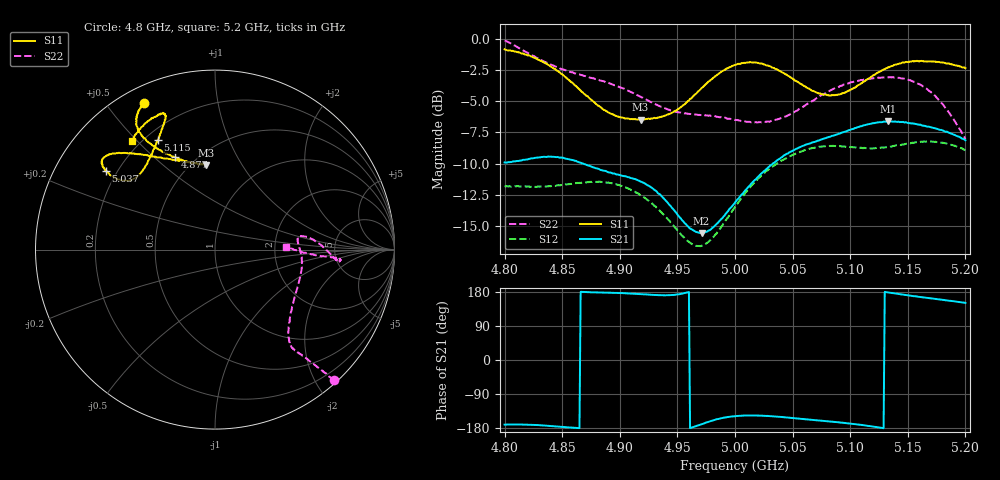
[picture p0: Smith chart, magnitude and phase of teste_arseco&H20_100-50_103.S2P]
! Network Analyzer HP8722D
! Hewlett-Packard
! Data name: Linha & Wilkinson
! Saver's name: Rodrigo Anjos
! Comments: Teste da utilização de aquisição
! continua pelo VNA HP8722D
! Time and date: 6/5/2025 13:25
!  Frequency  S11  S21  S12  S22
# HZ  S  MA R 50
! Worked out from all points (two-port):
!   401 points, 4.8 GHz to 5.2 GHz, reference 50 ohm
!   highest |S21| = -6.61 dB at 5.133 GHz (marker M1); lowest = -15.5 dB at 4.971 GHz (marker M2)
!   |S21| within 3 dB of the highest: 4.822 GHz to 4.854 GHz (32.33 MHz wide, 0.668 % of centre); 5.039 GHz to end of sweep
!   lowest |S11| = -6.5 dB at 4.918 GHz (marker M3), VSWR 2.81, Z = 29.2 + j35.6 ohm
!   |S11| at or under -10 dB: nowhere
!   |S22| runs from -8.0 to -0.1 dB; largest |S21 - S12| = 0.83
!   S11 on the Smith chart (normalised r, x): 4.8 GHz: 0.07, +0.62; 4.877 GHz: 0.39, +0.58; 5.037 GHz: 0.16, +0.32; 5.115 GHz: 0.25, +0.58; 5.2 GHz: 0.17, +0.48
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4.8e9  0.9069 115.9  0.3202 -170.6  0.257 -86.2  0.9845 -47.6
4.834e9  0.8052 122.4  0.3374 -172.7  0.2566 -77.0  0.8117 -49.8
4.849e9  0.7242 122.2  0.335 -176.4  0.2599 -71.8  0.7581 -50.6
4.867e9  0.613 117.9  0.3177 179.7  0.2656 -67.4  0.7155 -51.6
4.877e9  0.5613 113.5  0.3057 178.6  0.268 -66.3  0.6948 -51.9
4.9e9  0.4862 101.4  0.2851 176.8  0.259 -66.5  0.6396 -50.2
4.918e9  0.4749 96.1  0.2682 173.8  0.2366 -68.7  0.5866 -45.3
4.934e9  0.4851 99.2  0.2396 171.1  0.2072 -69.5  0.5392 -37.4
4.959e9  0.5621 116.2  0.178 178.6  0.1552 -59.0  0.5009 -21.0
4.971e9  0.6349 124.6  0.1669 -169.5  0.1486 -45.5  0.4952 -13.9
4.982e9  0.7024 130.4  0.1776 -158.5  0.1625 -33.1  0.4906 -8.2
5e9  0.7856 137.3  0.2209 -148.4  0.2125 -21.4  0.4734 -0.3
5.018e9  0.8029 141.6  0.2739 -146.6  0.2699 -18.4  0.4641 5.7
5.037e9  0.7506 144.1  0.3272 -149.5  0.3184 -18.4  0.4763 8.9
5.067e9  0.6187 141.9  0.385 -158.0  0.3654 -20.6  0.5632 4.6
5.089e9  0.5963 132.5  0.4149 -164.2  0.3717 -23.8  0.6388 -1.9
5.115e9  0.6886 117.6  0.4545 -173.5  0.3642 -26.8  0.6908 -5.3
5.133e9  0.7692 111.4  0.4673 178.2  0.3689 -28.6  0.7008 -4.9
5.134e9  0.7693 111.3  0.466 177.8  0.3691 -28.8  0.7019 -4.8
5.16e9  0.8123 112.1  0.4527 166.6  0.3862 -34.8  0.6583 -3.8
5.179e9  0.8047 118.5  0.432 159.1  0.384 -40.7  0.5557 -3.1
5.2e9  0.7628 127.3  0.3924 150.8  0.3591 -46.3  0.3966 2.5
